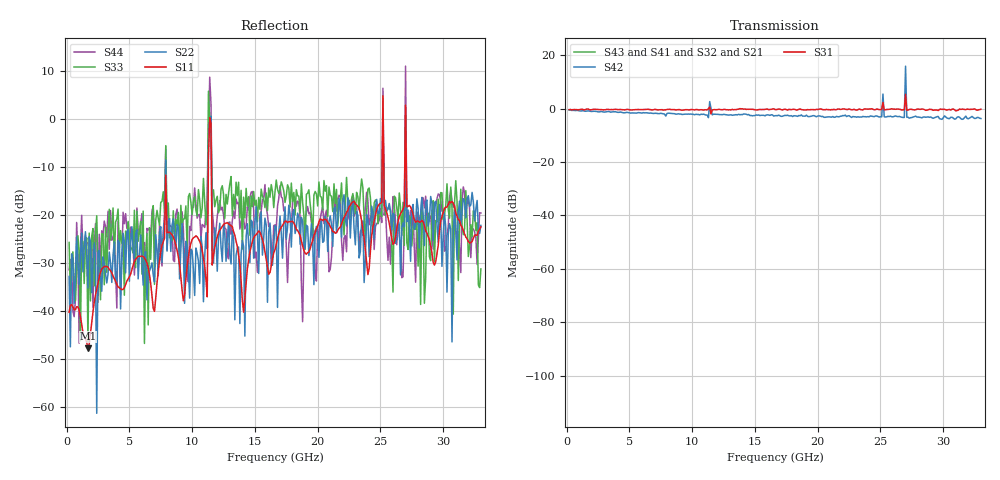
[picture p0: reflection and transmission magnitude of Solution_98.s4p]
# GHZ S RI R 50
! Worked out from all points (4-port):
!   329 points, 200 MHz to 33 GHz, reference 50 ohm
!   strongest paths, dB at 200 MHz, 8.4 GHz, 16.6 GHz, 24.8 GHz, 33 GHz:
!     S31: -0.4, -0.4, -0.3, -0.2, -0.2
!     S42: -0.5, -1.8, -2.6, -2.9, -3.7
!     S43: -, -, -, -, -
!     S41: -, -, -, -, -
!     S32: -, -, -, -, -
!     S21: -, -, -, -, -
!   lowest |S11| = -47.7 dB at 1.7 GHz (marker M1), VSWR 1.01, Z = 50.1 - j0.402 ohm
!   |S11| at or under -10 dB: start of sweep to 11.29 GHz; 11.53 GHz to 25.13 GHz (13.6 GHz wide, 74.2 % of centre); 27.06 GHz to end of sweep (the widest 3 of 4)
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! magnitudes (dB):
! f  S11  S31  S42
! 200 MHz  -40.2  -0.4  -0.5
! 1.7 GHz  -47.7  -0.1  -0.9
! 11.3 GHz  -7.9  0.0  -3.4
! 14.2 GHz  -37.2  -0.1  -2.0
! 25.2 GHz  4.8  2.3  5.5
! 25.8 GHz  -23.3  -0.2  -2.8
! 33 GHz  -22.4  -0.2  -3.7
